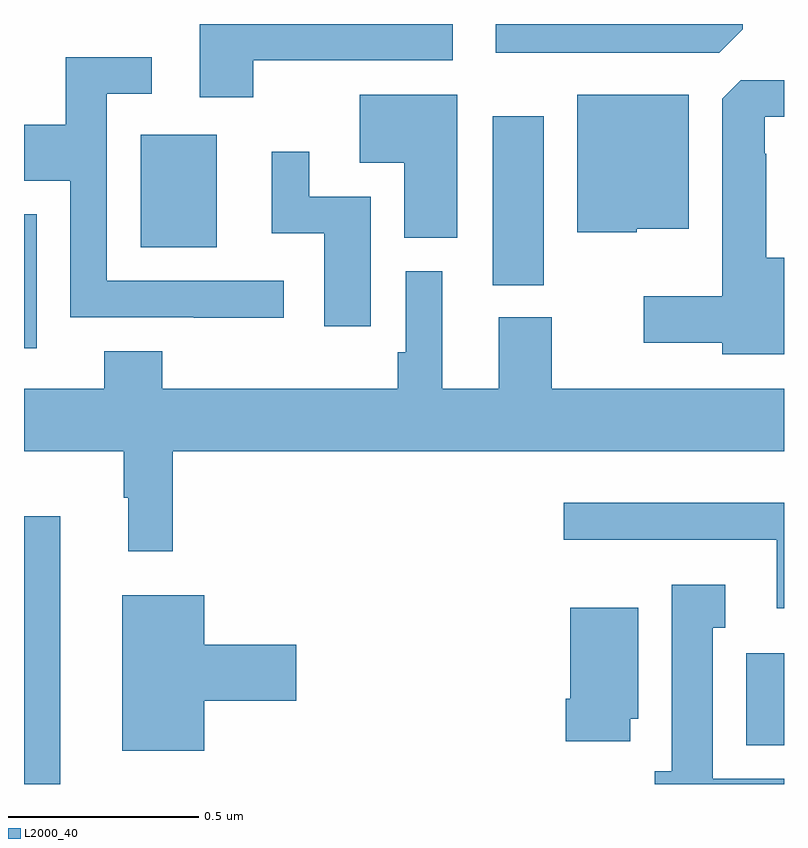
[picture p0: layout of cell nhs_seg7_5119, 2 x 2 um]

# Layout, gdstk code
import gdstk
lib = gdstk.Library(unit=1e-6, precision=1e-09)
def R(c, l, rs):  # rectangles x0, y0, x1, y1
    for r in rs: c.add(gdstk.rectangle(r[:2], r[2:], *l))
def P(c, l, *ps):  # polygons
    for p in ps: c.add(gdstk.Polygon(p, *l))
L2000_40 = (2000, 40)

nhs_seg7_5119 = lib.new_cell('nhs_seg7_5119')
R(nhs_seg7_5119, L2000_40, [(181,1073,181.096,1073.704), (182.9,1073.102,183,1073.344), (181,1074.147,181.033,1074.499), (182.234,1074.313,182.368,1074.757), (181.307,1074.413,181.507,1074.709)])
P(nhs_seg7_5119, L2000_40, [(181.603,1074.905),(182.128,1074.905),(182.128,1075),(181.463,1075),(181.463,1074.807),(181.603,1074.807)],
  [(182.891,1074.986),(182.891,1075),(182.241,1075),(182.241,1074.924),(182.829,1074.924)],
  [(181.684,1074.324),(181.218,1074.324),(181.218,1074.816),(181.336,1074.816),(181.336,1074.913),(181.11,1074.913),(181.11,1074.735),(181,1074.735),(181,1074.587),(181.122,1074.587),(181.122,1074.228),(181.447,1074.228),(181.447,1074.227),(181.684,1074.227)],
  [(183,1074.385),(182.953,1074.385),(182.953,1074.659),(182.949,1074.659),(182.949,1074.756),(183,1074.756),(183,1074.852),(182.886,1074.852),(182.837,1074.803),(182.837,1074.283),(182.631,1074.283),(182.631,1074.161),(182.837,1074.161),(182.837,1074.131),(183,1074.131)],
  [(182.14,1074.814),(181.883,1074.814),(181.883,1074.635),(182,1074.635),(182,1074.438),(182.14,1074.438)],
  [(182.613,1074.461),(182.749,1074.461),(182.749,1074.814),(182.456,1074.814),(182.456,1074.452),(182.613,1074.452)],
  [(181.912,1074.546),(181.75,1074.546),(181.75,1074.664),(181.652,1074.664),(181.652,1074.45),(181.79,1074.45),(181.79,1074.204),(181.912,1074.204)],
  [(183,1074.04),(182.389,1074.04),(182.389,1074.228),(182.249,1074.228),(182.249,1074.04),(182.101,1074.04),(182.101,1074.349),(182.004,1074.349),(182.004,1074.136),(181.984,1074.136),(181.984,1074.04),(181.364,1074.04),(181.364,1074.139),(181.211,1074.139),(181.211,1074.04),(181,1074.04),(181,1073.876),(181.263,1073.876),(181.263,1073.753),(181.274,1073.753),(181.274,1073.613),(181.391,1073.613),(181.391,1073.876),(183,1073.876)],
  [(183,1073.74),(182.421,1073.74),(182.421,1073.643),(182.981,1073.643),(182.981,1073.462),(183,1073.462)],
  [(183,1073.014),(182.812,1073.014),(182.812,1073.411),(182.845,1073.411),(182.845,1073.524),(182.705,1073.524),(182.705,1073.034),(182.66,1073.034),(182.66,1073),(183,1073)],
  [(181.474,1073.219),(181.717,1073.219),(181.717,1073.366),(181.474,1073.366),(181.474,1073.497),(181.259,1073.497),(181.259,1073.087),(181.474,1073.087)],
  [(182.596,1073.172),(182.617,1073.172),(182.617,1073.464),(182.438,1073.464),(182.438,1073.224),(182.426,1073.224),(182.426,1073.112),(182.596,1073.112)])

lib.write_gds('nhs_seg7_5119.gds')
